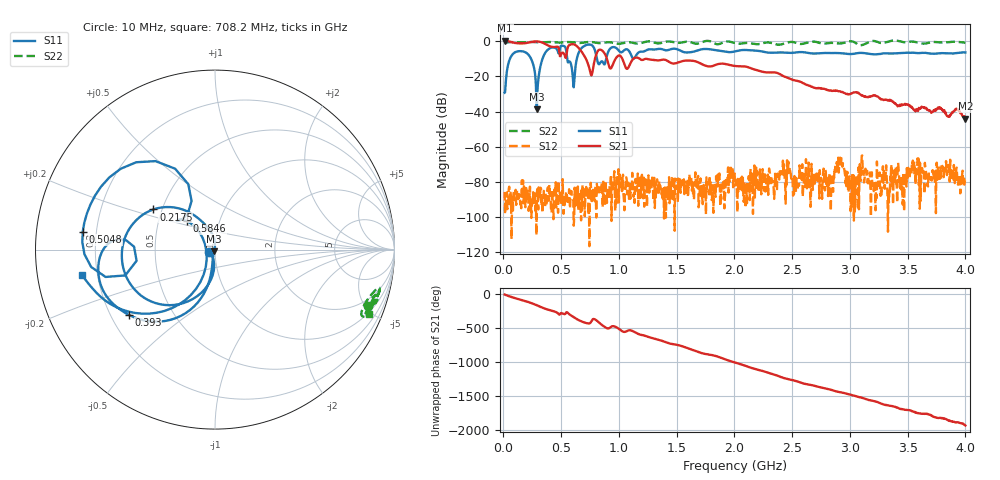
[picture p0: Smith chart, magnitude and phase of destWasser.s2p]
!  26/06/2026  14:24:29
! Ref Plane: 0.000 mm
# MHZ S MA R  50
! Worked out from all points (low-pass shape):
!   1001 points, 10 MHz to 4 GHz, reference 50 ohm
!   highest |S21| = 0.32 dB at 13.99 MHz (marker M1); lowest = -44.0 dB at 4 GHz (marker M2)
!   |S21| within 3 dB of the highest: start of sweep to 394.2 MHz; 563.4 MHz to 633 MHz (69.59 MHz wide, 11.6 % of centre)
!   lowest |S11| = -38.7 dB at 289.3 MHz (marker M3), VSWR 1.02, Z = 49.5 - j1.04 ohm
!   |S11| at or under -10 dB: 239.2 MHz to 338.2 MHz (99.06 MHz wide, 34.3 % of centre); 551.9 MHz to 635.3 MHz (83.38 MHz wide, 14 % of centre); 809.5 MHz to 889.7 MHz (80.18 MHz wide, 9.44 % of centre)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
!   |S22| runs from -2.3 to 0.4 dB; largest |S21 - S12| = 1
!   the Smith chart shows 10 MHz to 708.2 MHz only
!   S11 on the Smith chart (normalised r, x): 10 MHz: 0.94, -0.02; 217.5 MHz: 0.45, +0.24; 393 MHz: 0.27, -0.31; 504.8 MHz: 0.15, +0.06; 584.6 MHz: 0.70, +0.23; 708.2 MHz: 0.14, -0.09
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10  0.03441 -157.5  1.034 -7.2  5.228e-05 -42.4  0.9101 -20.1
13.99  0.03532 -121.6  1.038 -9.9  1.203e-05 159.0  0.9132 -19.7
77.83  0.4179 -132.5  0.9239 -48.6  3.754e-05 -135.6  0.9405 -15.6
217.48  0.4099 146.9  0.9126 -119.0  1.515e-05 101.5  0.9443 -17.2
289.3  0.01161 -115.3  0.9866 -165.9  4.921e-05 -76.8  0.9315 -19.0
393.04  0.6025 -142.9  0.7379 125.8  3.441e-05 -0.8  0.9461 -14.1
504.76  0.7437 172.4  0.4562 77.3  3.212e-05 119.0  0.9164 -22.3
584.56  0.2236 134.8  0.8089 45.1  5.218e-05 65.8  0.9404 -13.0
676.33  0.6379 -149.9  0.504 -43.8  6.797e-05 -179.2  0.8966 -24.2
708.25  0.754 -169.4  0.3444 -63.7  3.311e-05 119.0  0.9282 -22.8
780.07  0.6812 137.7  0.2 -7.6  3.523e-05 54.5  0.9286 -14.9
843.91  0.2587 170.6  0.5686 -84.9  6.12e-05 -24.7  0.8817 -17.8
903.76  0.4681 -148.9  0.2581 -147.8  5.993e-05 80.3  0.9319 -19.4
1011.49  0.4931 156.8  0.3837 -168.6  7.538e-05 -170.4  0.8508 -21.3
1342.66  0.6023 150.1  0.2839 44.7  4.203e-05 -19.6  0.865 -21.6
1609.99  0.4819 138.6  0.2822 -87.8  0.0001678 -87.3  0.9547 -22.7
2005  0.5111 122.2  0.1975 69.5  7.912e-05 45.0  0.8847 -17.0
2671.33  0.4482 99.2  0.05087 95.2  7.952e-05 69.3  0.9646 -22.6
2918.71  0.4544 96.7  0.03721 -9.9  0.0003145 -147.7  0.8628 -44.1
3337.66  0.4496 86.2  0.0211 153.1  2.591e-05 -160.3  0.9855 -36.1
3445.39  0.4647 84.9  0.01584 104.1  6.077e-05 -80.9  0.9658 -1.5
4000  0.478 83.4  0.006296 -139.4  0.000113 17.1  0.9038 -9.6
